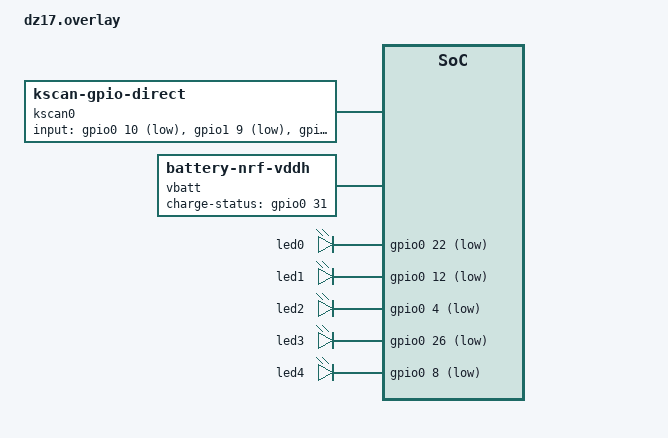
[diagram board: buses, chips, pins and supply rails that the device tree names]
#include <dt-bindings/gpio/gpio.h>
#include "dz17-layouts.dtsi"

/ {
    chosen {
        zmk,kscan = &kscan0;
        zmk,battery = &vbatt;
        zmk,physical-layout = <&dz17_layout>;
    };

    // 17 keys direct GPIO
    kscan0: kscan {
        compatible = "zmk,kscan-gpio-direct";
        wakeup-source;
        debounce-press-ms = <10>;
        debounce-release-ms = <10>;
        input-gpios
            = <&gpio0 10 (GPIO_ACTIVE_LOW | GPIO_PULL_UP)>   // 1: NUM
            , <&gpio1  9 (GPIO_ACTIVE_LOW | GPIO_PULL_UP)>   // 2: /
            , <&gpio0 17 (GPIO_ACTIVE_LOW | GPIO_PULL_UP)>   // 3: *
            , <&gpio0 13 (GPIO_ACTIVE_LOW | GPIO_PULL_UP)>   // 4: -
            , <&gpio0 24 (GPIO_ACTIVE_LOW | GPIO_PULL_UP)>   // 5: 7
            , <&gpio0  5 (GPIO_ACTIVE_LOW | GPIO_PULL_UP)>   // 6: 8
            , <&gpio0 15 (GPIO_ACTIVE_LOW | GPIO_PULL_UP)>   // 7: 9
            , <&gpio0  9 (GPIO_ACTIVE_LOW | GPIO_PULL_UP)>   // 8: +
            , <&gpio0  7 (GPIO_ACTIVE_LOW | GPIO_PULL_UP)>   // 9: 4
            , <&gpio0  2 (GPIO_ACTIVE_LOW | GPIO_PULL_UP)>   // 10: 5
            , <&gpio0 30 (GPIO_ACTIVE_LOW | GPIO_PULL_UP)>   // 11: 6
            , <&gpio1 11 (GPIO_ACTIVE_LOW | GPIO_PULL_UP)>   // 12: Enter
            , <&gpio0 28 (GPIO_ACTIVE_LOW | GPIO_PULL_UP)>   // 13: 1
            , <&gpio1 13 (GPIO_ACTIVE_LOW | GPIO_PULL_UP)>   // 14: 2
            , <&gpio0 29 (GPIO_ACTIVE_LOW | GPIO_PULL_UP)>   // 15: 3
            , <&gpio0  3 (GPIO_ACTIVE_LOW | GPIO_PULL_UP)>   // 16: 0
            , <&gpio1 10 (GPIO_ACTIVE_LOW | GPIO_PULL_UP)>   // 17: .
            ;
    };

    // Battery voltage monitoring with TP4056 STBY charge status on P0.31.
    // STBY is open-drain: driven LOW when fully charged, floating while
    // charging -> GPIO_ACTIVE_HIGH (charging when idle-high, charged when low).
    vbatt: vbatt {
        compatible = "zmk,battery-nrf-vddh";
        charge-status-gpios = <&gpio0 31 GPIO_ACTIVE_HIGH>;
    };

    // Monochrome indicator LEDs (WS2812 strip removed).
    // Wiring per LED: 3.3V -> 1k resistor -> LED anode (+),
    //                 LED cathode (-) -> GPIO.
    // Active-low: GPIO driven LOW turns the LED on.
    leds {
        compatible = "gpio-leds";
        label = "DZ17 indicator LEDs";
        led0: led_0 { gpios = <&gpio0 22 GPIO_ACTIVE_LOW>; };  // NumLock  (white)
        led1: led_1 { gpios = <&gpio0 12 GPIO_ACTIVE_LOW>; };  // BLE prof 1 (blue)
        led2: led_2 { gpios = <&gpio0  4 GPIO_ACTIVE_LOW>; };  // BLE prof 2 (blue)
        led3: led_3 { gpios = <&gpio0 26 GPIO_ACTIVE_LOW>; };  // BLE prof 3 (blue)
        led4: led_4 { gpios = <&gpio0  8 GPIO_ACTIVE_LOW>; };  // USB output  (green)
    };
};
